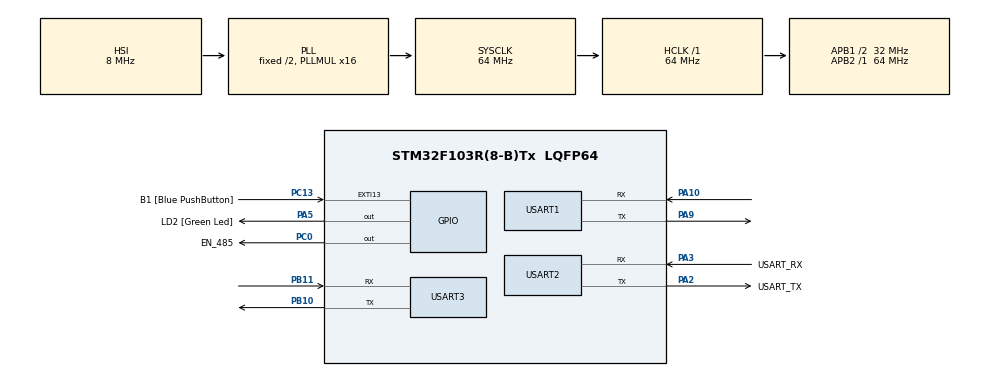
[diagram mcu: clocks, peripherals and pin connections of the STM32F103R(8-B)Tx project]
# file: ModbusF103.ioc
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FREERTOS.Tasks01=defaultTask,24,128,StartDefaultTask,Default,NULL,Dynamic,NULL,NULL;myTaskMaster,8,128,StartTaskMaster,Default,NULL,Dynamic,NULL,NULL;myTaskSlave,8,128,StartTaskSlave,Default,NULL,Dynamic,NULL,NULL
FREERTOS.configTOTAL_HEAP_SIZE=6072
Mcu.Family=STM32F1
Mcu.Name=STM32F103R(8-B)Tx
Mcu.Package=LQFP64
NVIC.EXTI15_10_IRQn=true\:5\:0\:false\:false\:true\:true\:true\:true
NVIC.PriorityGroup=NVIC_PRIORITYGROUP_4
NVIC.TIM1_UP_IRQn=true\:0\:0\:false\:false\:true\:false\:false\:true
NVIC.TimeBase=TIM1_UP_IRQn
NVIC.TimeBaseIP=TIM1
NVIC.USART1_IRQn=true\:5\:0\:false\:false\:true\:true\:true\:true
NVIC.USART2_IRQn=true\:5\:0\:false\:false\:true\:true\:true\:true
NVIC.USART3_IRQn=true\:5\:0\:false\:false\:true\:true\:true\:true
PA10.Mode=Asynchronous
PA10.Signal=USART1_RX
PA13.GPIO_Label=TMS
PA13.Mode=Serial_Wire
PA13.Signal=SYS_JTMS-SWDIO
PA14.GPIO_Label=TCK
PA14.Mode=Serial_Wire
PA14.Signal=SYS_JTCK-SWCLK
PA2.GPIO_Label=USART_TX
PA2.GPIO_Mode=GPIO_MODE_AF_PP
PA2.GPIO_PuPd=GPIO_NOPULL
PA2.GPIO_Speed=GPIO_SPEED_FREQ_LOW
PA2.Mode=Asynchronous
PA2.Signal=USART2_TX
PA3.GPIO_Label=USART_RX
PA3.GPIO_Mode=GPIO_MODE_AF_PP
PA3.GPIO_PuPd=GPIO_NOPULL
PA3.GPIO_Speed=GPIO_SPEED_FREQ_LOW
PA3.Mode=Asynchronous
PA3.Signal=USART2_RX
PA5.GPIO_Label=LD2 [Green Led]
PA5.GPIO_ModeDefaultOutputPP=GPIO_MODE_OUTPUT_PP
PA5.GPIO_PuPd=GPIO_NOPULL
PA5.GPIO_Speed=GPIO_SPEED_FREQ_LOW
PA5.Signal=GPIO_Output
PA9.Mode=Asynchronous
PA9.Signal=USART1_TX
PB10.Mode=Asynchronous
PB10.Signal=USART3_TX
PB11.Mode=Asynchronous
PB11.Signal=USART3_RX
PB3.GPIO_Label=SWO
PB3.Signal=SYS_JTDO-TRACESWO
PC0.GPIO_Label=EN_485
PC0.Signal=GPIO_Output
PC13-TAMPER-RTC.GPIO_Label=B1 [Blue PushButton]
PC13-TAMPER-RTC.GPIO_PuPd=GPIO_NOPULL
PC13-TAMPER-RTC.Signal=GPXTI13
PC14-OSC32_IN.Mode=LSE-External-Oscillator
PC14-OSC32_IN.Signal=RCC_OSC32_IN
PC15-OSC32_OUT.Mode=LSE-External-Oscillator
PC15-OSC32_OUT.Signal=RCC_OSC32_OUT
PD0-OSC_IN.Mode=HSE-External-Clock-Source
PD0-OSC_IN.Signal=RCC_OSC_IN
PD1-OSC_OUT.Mode=HSE-External-Clock-Source
PD1-OSC_OUT.Signal=RCC_OSC_OUT
ProjectManager.HeapSize=0x200
ProjectManager.StackSize=0x400
ProjectManager.TargetToolchain=STM32CubeIDE
RCC.AHBFreq_Value=64000000
RCC.APB1CLKDivider=RCC_HCLK_DIV2
RCC.APB1Freq_Value=32000000
RCC.APB1TimFreq_Value=64000000
RCC.APB2Freq_Value=64000000
RCC.APB2TimFreq_Value=64000000
RCC.HCLKFreq_Value=64000000
RCC.PLLMUL=RCC_PLL_MUL16
RCC.RTCClockSelection=RCC_RTCCLKSOURCE_LSE
RCC.SYSCLKFreq_VALUE=64000000
RCC.SYSCLKSource=RCC_SYSCLKSOURCE_PLLCLK
RCC.USBFreq_Value=64000000
USART1.VirtualMode=VM_ASYNC
USART2.VirtualMode=VM_ASYNC
USART3.VirtualMode=VM_ASYNC
VP_FREERTOS_VS_CMSIS_V2.Mode=CMSIS_V2
VP_SYS_VS_tim1.Mode=TIM1
board=NUCLEO-F103RB

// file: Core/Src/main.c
/* USER CODE BEGIN Header */
/**
  ******************************************************************************
  * @file           : main.c
  * @brief          : Main program body
  ******************************************************************************
  * Example running a Modbus Master and a Slave concurrently in a NUCLEO64-F103RB
  * Modbus Master: USART1 (PA10 ---> USART_RX1, PA9  ---> USART_TX1)
  * Modbus Slave:  USART3 (PB11 ---> USART_RX3, PB10 ---> USART_TX3)
  *
  ******************************************************************************
  */
/* USER CODE END Header */
#include "main.h"
#include "cmsis_os.h"
#include "usart.h"
#include "gpio.h"

/* USER CODE BEGIN Includes */
#include "Modbus.h"
/* USER CODE END Includes */

/* USER CODE BEGIN PV */
modbusHandler_t ModbusH;
uint16_t ModbusDATA[8];
modbusHandler_t ModbusH2;
uint16_t ModbusDATA2[8];

/* USER CODE END PV */

void SystemClock_Config(void);
void MX_FREERTOS_Init(void);

int main(void)
{

  /* MCU Configuration--------------------------------------------------------*/

  /* Reset of all peripherals, Initializes the Flash interface and the Systick. */
  HAL_Init();

  /* Configure the system clock */
  SystemClock_Config();

  /* Initialize all configured peripherals */
  MX_GPIO_Init();
  MX_USART2_UART_Init();
  MX_USART1_UART_Init();
  MX_USART3_UART_Init();
  /* USER CODE BEGIN 2 */

  /* Master initialization */
  ModbusH.uiModbusType = MASTER_RTU;
  ModbusH.port =  &huart1;
  ModbusH.u8id = 0; // For master it must be 0
  ModbusH.u16timeOut = 1000;
  ModbusH.EN_Port = NULL;
  ModbusH.EN_Port = EN_485_GPIO_Port;
  ModbusH.EN_Pin = EN_485_Pin;
  ModbusH.u32overTime = 0;
  ModbusH.au16regs = ModbusDATA;
  ModbusH.u16regsize= sizeof(ModbusDATA)/sizeof(ModbusDATA[0]);
  //Initialize Modbus library
  ModbusInit(&ModbusH);
  //Start capturing traffic on serial Port
  ModbusStart(&ModbusH);

  /* Slave initialization */

  ModbusH2.uiModbusType = SLAVE_RTU;
  ModbusH2.port =  &huart2;
  ModbusH2.u8id = 17;
  ModbusH2.u16timeOut = 1000;
  ModbusH2.EN_Port = NULL;
  //ModbusH2.EN_Port = LD2_GPIO_Port;
  //ModbusH2.EN_Pin = LD2_Pin;
  ModbusH2.u32overTime = 0;
  ModbusH2.au16regs = ModbusDATA2;
  ModbusH2.u16regsize= sizeof(ModbusDATA2)/sizeof(ModbusDATA2[0]);
  //Initialize Modbus library
  ModbusInit(&ModbusH2);
  //Start capturing traffic on serial Port
  ModbusStart(&ModbusH2);

  /* USER CODE END 2 */

  /* Init scheduler */
  osKernelInitialize();  /* Call init function for freertos objects (in freertos.c) */
  MX_FREERTOS_Init();
  /* Start scheduler */
  osKernelStart();

  /* We should never get here as control is now taken by the scheduler */
  /* Infinite loop */
  while (1)
  {

  }
}

void SystemClock_Config(void)
{
  RCC_OscInitTypeDef RCC_OscInitStruct = {0};
  RCC_ClkInitTypeDef RCC_ClkInitStruct = {0};

  /** Initializes the RCC Oscillators according to the specified parameters
  * in the RCC_OscInitTypeDef structure.
  */
  RCC_OscInitStruct.OscillatorType = RCC_OSCILLATORTYPE_HSI;
  RCC_OscInitStruct.HSIState = RCC_HSI_ON;
  RCC_OscInitStruct.HSICalibrationValue = RCC_HSICALIBRATION_DEFAULT;
  RCC_OscInitStruct.PLL.PLLState = RCC_PLL_ON;
  RCC_OscInitStruct.PLL.PLLSource = RCC_PLLSOURCE_HSI_DIV2;
  RCC_OscInitStruct.PLL.PLLMUL = RCC_PLL_MUL16;
  if (HAL_RCC_OscConfig(&RCC_OscInitStruct) != HAL_OK)
  {
    Error_Handler();
  }
  /** Initializes the CPU, AHB and APB buses clocks
  */
  RCC_ClkInitStruct.ClockType = RCC_CLOCKTYPE_HCLK|RCC_CLOCKTYPE_SYSCLK
                              |RCC_CLOCKTYPE_PCLK1|RCC_CLOCKTYPE_PCLK2;
  RCC_ClkInitStruct.SYSCLKSource = RCC_SYSCLKSOURCE_PLLCLK;
  RCC_ClkInitStruct.AHBCLKDivider = RCC_SYSCLK_DIV1;
  RCC_ClkInitStruct.APB1CLKDivider = RCC_HCLK_DIV2;
  RCC_ClkInitStruct.APB2CLKDivider = RCC_HCLK_DIV1;

  if (HAL_RCC_ClockConfig(&RCC_ClkInitStruct, FLASH_LATENCY_2) != HAL_OK)
  {
    Error_Handler();
  }
}

void HAL_TIM_PeriodElapsedCallback(TIM_HandleTypeDef *htim)
{
  if (htim->Instance == TIM1) {
    HAL_IncTick();
  }
}

void Error_Handler(void)
{
}

/************************ (C) COPYRIGHT STMicroelectronics *****END OF FILE****/

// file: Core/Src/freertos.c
/* USER CODE BEGIN Header */
/**
  ******************************************************************************
  * File Name          : freertos.c
  * Description        : Code for freertos applications
  ******************************************************************************
  * @attention
  *
  * <h2><center>&copy; Copyright (c) 2020 STMicroelectronics.
  * All rights reserved.</center></h2>
  *
  * This software component is licensed by ST under Ultimate Liberty license
  * SLA0044, the "License"; You may not use this file except in compliance with
  * the License. You may obtain a copy of the License at:
  *                             www.st.com/SLA0044
  *
  ******************************************************************************
  */
/* USER CODE END Header */

#include "FreeRTOS.h"
#include "task.h"
#include "main.h"
#include "cmsis_os.h"

/* USER CODE BEGIN Includes */
#include "semphr.h"
/* USER CODE END Includes */

/* USER CODE BEGIN Variables */
modbus_t telegram[2];
/* USER CODE END Variables */
/* Definitions for defaultTask */
osThreadId_t defaultTaskHandle;
const osThreadAttr_t defaultTask_attributes = {
  .name = "defaultTask",
  .priority = (osPriority_t) osPriorityNormal,
  .stack_size = 128 * 4
};
/* Definitions for myTaskMaster */
osThreadId_t myTaskMasterHandle;
const osThreadAttr_t myTaskMaster_attributes = {
  .name = "myTaskMaster",
  .priority = (osPriority_t) osPriorityLow,
  .stack_size = 128 * 4
};
/* Definitions for myTaskSlave */
osThreadId_t myTaskSlaveHandle;
const osThreadAttr_t myTaskSlave_attributes = {
  .name = "myTaskSlave",
  .priority = (osPriority_t) osPriorityLow,
  .stack_size = 128 * 4
};

void StartDefaultTask(void *argument);
void StartTaskMaster(void *argument);
void StartTaskSlave(void *argument);

void MX_FREERTOS_Init(void); /* (MISRA C 2004 rule 8.1) */

void MX_FREERTOS_Init(void) {

  /* Create the thread(s) */
  /* creation of defaultTask */
  defaultTaskHandle = osThreadNew(StartDefaultTask, NULL, &defaultTask_attributes);

  /* creation of myTaskMaster */
  myTaskMasterHandle = osThreadNew(StartTaskMaster, NULL, &myTaskMaster_attributes);

  /* creation of myTaskSlave */
  myTaskSlaveHandle = osThreadNew(StartTaskSlave, NULL, &myTaskSlave_attributes);

}

void StartDefaultTask(void *argument)
{
  /* USER CODE BEGIN StartDefaultTask */
  /* Infinite loop */
  for(;;)
  {
    osDelay(10);
  }
  /* USER CODE END StartDefaultTask */
}

void StartTaskMaster(void *argument)
{
  /* USER CODE BEGIN StartTaskMaster */
  /* Infinite loop */
	 // telegram 0: read registers

  uint32_t u32NotificationValue;

  telegram[0].u8id = 17; // slave address
  telegram[0].u8fct = 3; // function code (this one is registers read)
  //telegram[0].u16RegAdd = 0x160; // start address in slave
  telegram[0].u16RegAdd = 0x0; // start address in slave
  telegram[0].u16CoilsNo = 3; // number of elements (coils or registers) to read
  telegram[0].au16reg = ModbusDATA; // pointer to a memory array in the Arduino

  // telegram 0: read registers
  telegram[1].u8id = 17; // slave address
  telegram[1].u8fct = 16; // function code (this one is registers write)
  //telegram[1].u16RegAdd = 0x160; // start address in slave
  telegram[1].u16RegAdd = 0x0;
  telegram[1].u16CoilsNo = 3; // number of elements (coils or registers) to read
  telegram[1].au16reg = ModbusDATA; // pointer to a memory array in the Arduino

  for(;;)
  {
	  ModbusQuery(&ModbusH, telegram[0]); // make a query
	  u32NotificationValue = ulTaskNotifyTake(pdTRUE, portMAX_DELAY); // block until query finishes
	  if(u32NotificationValue)
	  {
		//handle error
		//  while(1);
	  }
	  osDelay(1000);

	  ModbusDATA[0]++;
	  ModbusQuery(&ModbusH, telegram[1]); // make a query
	  u32NotificationValue = ulTaskNotifyTake(pdTRUE, portMAX_DELAY); // block until query finishes
	  if(u32NotificationValue)
	  {
	  	//handle error
		//  while(1);
	  }
	  osDelay(1000);
  }
  /* USER CODE END StartTaskMaster */
}

void StartTaskSlave(void *argument)
{
  /* USER CODE BEGIN StartTaskSlave */
  /* Infinite loop */
  for(;;)
  {

	xSemaphoreTake(ModbusH2.ModBusSphrHandle , portMAX_DELAY);
	HAL_GPIO_WritePin(LD2_GPIO_Port, LD2_Pin, ModbusH2.au16regs[0] & 0x1);
	xSemaphoreGive(ModbusH2.ModBusSphrHandle);
	osDelay(200);

	//osDelay(100);
  }
  /* USER CODE END StartTaskSlave */
}

/************************ (C) COPYRIGHT STMicroelectronics *****END OF FILE****/
